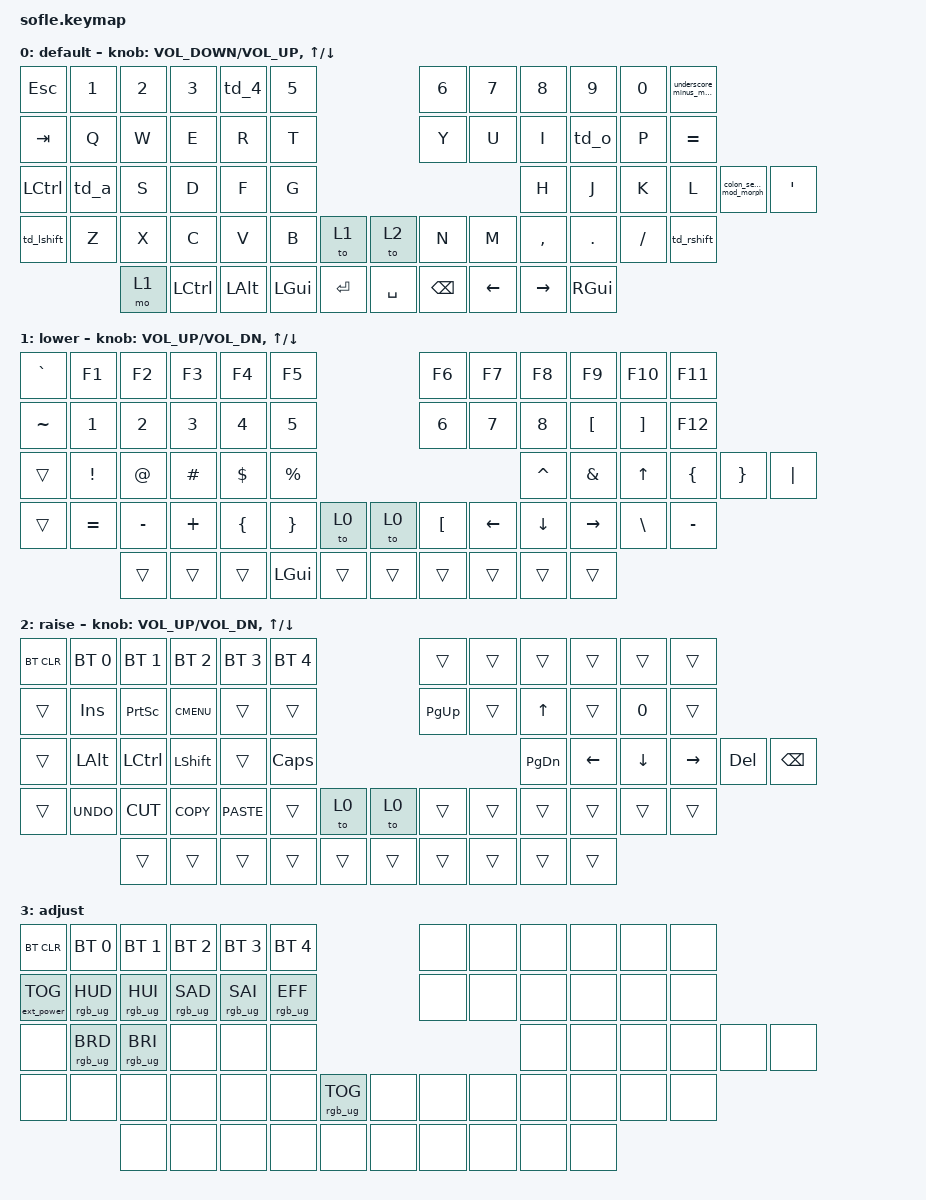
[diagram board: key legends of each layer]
/*
 * Copyright (c) 2020 The ZMK Contributors
 *
 * SPDX-License-Identifier: MIT
 */

#include <behaviors.dtsi>
#include <dt-bindings/zmk/bt.h>
#include <dt-bindings/zmk/ext_power.h>
#include <dt-bindings/zmk/keys.h>
#include <dt-bindings/zmk/rgb.h>

#define BASE 0
#define LOWER 1
#define RAISE 2
#define ADJUST 3

/ {
    // Activate ADJUST layer by pressing raise and lower

    conditional_layers {
        compatible = "zmk,conditional-layers";

        adjust_layer {
            if-layers = <LOWER RAISE>;
            then-layer = <ADJUST>;
        };
    };

    combos {
        compatible = "zmk,combos";
        
        combo_quotes_parens {
            timeout-ms = <50>;
            key-positions = <9 10>; // 9 and 0 keys
            bindings = <&type_quotes_parens>;
        };
    };

    macros {
        a_tilde_macro: a_tilde_macro {
            compatible = "zmk,behavior-macro";
            #binding-cells = <0>;
            bindings = <&kp TILDE &kp A>;
            label = "A_TILDE_MACRO";
        };

        o_tilde_macro: o_tilde_macro {
            compatible = "zmk,behavior-macro";
            #binding-cells = <0>;
            bindings = <&kp TILDE &kp O>;
            label = "O_TILDE_MACRO";
        };

        screenshot_macro: screenshot_macro {
            compatible = "zmk,behavior-macro";
            #binding-cells = <0>;
            bindings = <&kp LG(LS(N4))>;  // Cmd+Shift+4
            label = "SCREENSHOT_MACRO";
        };

        delete_word: delete_word {
            compatible = "zmk,behavior-macro";
            #binding-cells = <0>;
            bindings = <&none>;
            label = "DELETE_WORD";
        };

        type_quotes_parens: type_quotes_parens {
            compatible = "zmk,behavior-macro";
            #binding-cells = <0>;
            bindings = <
                &kp LPAR   /* ( */
                &kp DQT    /* " */
                &kp DQT    /* " */
                &kp RPAR   /* ) */
                &kp LEFT   /* Move cursor left */
                &kp LEFT   /* Move cursor left again */
            >;
            label = "TYPE_QUOTES_PARENS";
        };

        underscore_default: underscore_default {
            compatible = "zmk,behavior-macro";
            #binding-cells = <0>;
            bindings = <&kp UNDERSCORE>;
            label = "UNDERSCORE_DEFAULT";
        };

        minus_shifted: minus_shifted {
            compatible = "zmk,behavior-macro";
            #binding-cells = <0>;
            bindings = <&kp MINUS>;
            label = "MINUS_SHIFTED";
        };

        colon_default: colon_default {
            compatible = "zmk,behavior-macro";
            #binding-cells = <0>;
            bindings = <&kp COLON>;
            label = "COLON_DEFAULT";
        };

        semicolon_shifted: semicolon_shifted {
            compatible = "zmk,behavior-macro";
            #binding-cells = <0>;
            bindings = <&kp SEMICOLON>;
            label = "SEMICOLON_SHIFTED";
        };
    };

    behaviors {
        underscore_minus_mod_morph: underscore_minus_mod_morph {
            compatible = "zmk,behavior-mod-morph";
            #binding-cells = <0>;
            bindings = <&underscore_default>, <&minus_shifted>;
            mods = <(MOD_LSFT|MOD_RSFT)>;
        };

        colon_semicolon_mod_morph: colon_semicolon_mod_morph {
            compatible = "zmk,behavior-mod-morph";
            #binding-cells = <0>;
            bindings = <&colon_default>, <&semicolon_shifted>;
            mods = <(MOD_LSFT|MOD_RSFT)>;
        };

        td_a: tap_dance_a {
            compatible = "zmk,behavior-tap-dance";
            #binding-cells = <0>;
            tapping-term-ms = <200>;
            bindings = <&kp A>, <&a_tilde_macro>;
        };

        td_o: tap_dance_o {
            compatible = "zmk,behavior-tap-dance";
            #binding-cells = <0>;
            tapping-term-ms = <200>;
            bindings = <&kp O>, <&o_tilde_macro>;
        };

        td_lshift: tap_dance_left_shift {
            compatible = "zmk,behavior-tap-dance";
            #binding-cells = <0>;
            tapping-term-ms = <200>;
            bindings = <&kp LSHFT>, <&kp CAPS>;
        };

        td_rshift: tap_dance_right_shift {
            compatible = "zmk,behavior-tap-dance";
            #binding-cells = <0>;
            tapping-term-ms = <200>;
            bindings = <&kp RSHFT>, <&kp CAPS>;
        };

        td_4: tap_dance_4 {
            compatible = "zmk,behavior-tap-dance";
            #binding-cells = <0>;
            tapping-term-ms = <200>;
            bindings = <&kp N4>, <&screenshot_macro>;
        };
    };

    keymap {
        compatible = "zmk,keymap";

        default_layer {
            display-name = "default";

            // ------------------------------------------------------------------------------------------------------------
            // |   `   |  1  |  2  |  3   |  4   |  5   |                   |  6   |  7    |  8    |  9   |   0   |       |
            // |  ESC  |  Q  |  W  |  E   |  R   |  T   |                   |  Y   |  U    |  I    |  O   |   P   | BKSPC |
            // |  TAB  |  A  |  S  |  D   |  F   |  G   |                   |  H   |  J    |  K    |  L   |   ;   |   '   |
            // | SHIFT |  Z  |  X  |  C   |  V   |  B   |  MUTE  |  |       |  N   |  M    |  ,    |  .   |   /   | SHIFT |
            //               | GUI | ALT  | CTRL | LOWER|  ENTER |  | SPACE | RAISE| CTRL  | ALT   | GUI  |

            bindings = <
&kp ESCAPE  &kp N1  &kp N2  &kp N3            &td_4     &kp N5                              &kp N6         &kp N7          &kp N8           &kp N9    &kp N0  &underscore_minus_mod_morph
&kp TAB     &kp Q   &kp W   &kp E             &kp R     &kp T                               &kp Y          &kp U           &kp I            &td_o     &kp P   &kp EQUAL
&kp LCTRL   &td_a   &kp S   &kp D             &kp F     &kp G                               &kp H          &kp J           &kp K            &kp L     &colon_semicolon_mod_morph  &kp SQT
&td_lshift  &kp Z   &kp X   &kp C             &kp V     &kp B         &to 1      &to 2      &kp N          &kp M           &kp COMMA        &kp DOT   &kp FSLH  &td_rshift
                    &mo 1   &kp LEFT_CONTROL  &kp LALT  &kp LEFT_GUI  &kp RET    &kp SPACE  &kp BACKSPACE  &kp LEFT_ARROW  &kp RIGHT_ARROW  &kp RGUI
            >;

            sensor-bindings =
                <&inc_dec_kp C_VOLUME_DOWN C_VOLUME_UP>,   // left encoder (volume)
                <&inc_dec_kp UP_ARROW DOWN_ARROW>;   // right encoder (up/down arrows)
        };

        lower_layer {
            display-name = "lower";

            // TODO: Some binds are waiting for shifted keycode support.
            // ------------------------------------------------------------------------------------------------------------
            // |       |  F1 |  F2 |  F3  |  F4  |  F5  |                   |  F6  |  F7   |  F8   |  F9  |  F10  |  F11  |
            // |   `   |  1  |  2  |  3   |  4   |  5   |                   |  6   |  7    |  8    |  9   |   0   |  F12  |
            // |       |  !  |  @  |  #   |  $   |  %   |                   |  ^   |  &    |  *    |  (   |   )   |   |   |
            // |       |  =  |  -  |  +   |  {   |  }   |        |  |       |  [   |  ]    |  ;    |  :   |   \   |       |
            //               |     |      |      |      |        |  |       |      |       |       |      |

            bindings = <
&kp GRAVE  &kp F1     &kp F2     &kp F3    &kp F4    &kp F5                          &kp F6     &kp F7          &kp F8          &kp F9            &kp F10            &kp F11
&kp TILDE  &kp N1     &kp N2     &kp N3    &kp N4    &kp N5                          &kp N6     &kp N7          &kp N8          &kp LEFT_BRACKET  &kp RIGHT_BRACKET  &kp F12
&trans     &kp EXCL   &kp AT     &kp HASH  &kp DLLR  &kp PRCNT                       &kp CARET  &kp AMPS        &kp UP_ARROW    &kp LEFT_BRACE    &kp RIGHT_BRACE    &kp PIPE
&trans     &kp EQUAL  &kp MINUS  &kp PLUS  &kp LBRC  &kp RBRC      &to 0     &to 0   &kp LBKT   &kp LEFT_ARROW  &kp DOWN_ARROW  &kp RIGHT_ARROW   &kp BSLH           &kp MINUS
                      &trans     &trans    &trans    &kp LEFT_GUI  &trans    &trans  &trans     &trans          &trans          &trans
            >;

            sensor-bindings = <&inc_dec_kp C_VOL_UP C_VOL_DN &inc_dec_kp UP_ARROW DOWN_ARROW>;
        };

        raise_layer {
            display-name = "raise";

            // ------------------------------------------------------------------------------------------------------------
            // | BTCLR | BT1  | BT2  |  BT3  |  BT4  |  BT5 |                |      |      |       |      |       |       |
            // |       | INS  | PSCR | GUI   |       |      |                | PGUP |      |   ^   |      |       |       |
            // |       | ALT  | CTRL | SHIFT |       | CAPS |                | PGDN |   <- |   v   |  ->  |  DEL  | BKSPC |
            // |       | UNDO | CUT  | COPY  | PASTE |      |      |  |      |      |      |       |      |       |       |
            //                |      |       |       |      |      |  |      |      |      |       |      |

            bindings = <
&bt BT_CLR  &bt BT_SEL 0  &bt BT_SEL 1  &bt BT_SEL 2  &bt BT_SEL 3  &bt BT_SEL 4                    &trans     &trans    &trans    &trans     &trans   &trans
&trans      &kp INS       &kp PSCRN     &kp K_CMENU   &trans        &trans                          &kp PG_UP  &trans    &kp UP    &trans     &kp N0   &trans
&trans      &kp LALT      &kp LCTRL     &kp LSHFT     &trans        &kp CLCK                        &kp PG_DN  &kp LEFT  &kp DOWN  &kp RIGHT  &kp DEL  &kp BSPC
&trans      &kp K_UNDO    &kp K_CUT     &kp K_COPY    &kp K_PASTE   &trans        &to 0     &to 0   &trans     &trans    &trans    &trans     &trans   &trans
                          &trans        &trans        &trans        &trans        &trans    &trans  &trans     &trans    &trans    &trans
            >;

            sensor-bindings = <&inc_dec_kp C_VOL_UP C_VOL_DN &inc_dec_kp UP_ARROW DOWN_ARROW>;
        };

        adjust_layer {
            // ----------------------------------------------------------------------------------------------------------------------------
            // | BTCLR  |  BT1    |  BT2    |   BT3   |   BT4   |   BT5   |                  |      |      |       |      |       |       |
            // | EXTPWR | RGB_HUD | RGB_HUI | RGB_SAD | RGB_SAI | RGB_EFF |                  |      |      |       |      |       |       |
            // |        | RGB_BRD | RGB_BRI |         |         |         |                  |      |      |       |      |       |       |
            // |        |         |         |         |         |         | RGB_TOG | |      |      |      |       |      |       |       |
            //                    |         |         |         |         |         | |      |      |      |       |      |

            display-name = "adjust";
            bindings = <
&bt BT_CLR         &bt BT_SEL 0     &bt BT_SEL 1     &bt BT_SEL 2     &bt BT_SEL 3     &bt BT_SEL 4                               &none  &none  &none  &none  &none  &none
&ext_power EP_TOG  &rgb_ug RGB_HUD  &rgb_ug RGB_HUI  &rgb_ug RGB_SAD  &rgb_ug RGB_SAI  &rgb_ug RGB_EFF                            &none  &none  &none  &none  &none  &none
&none              &rgb_ug RGB_BRD  &rgb_ug RGB_BRI  &none            &none            &none                                      &none  &none  &none  &none  &none  &none
&none              &none            &none            &none            &none            &none            &rgb_ug RGB_TOG    &none  &none  &none  &none  &none  &none  &none
                                    &none            &none            &none            &none            &none              &none  &none  &none  &none  &none
            >;
        };
    };
};
